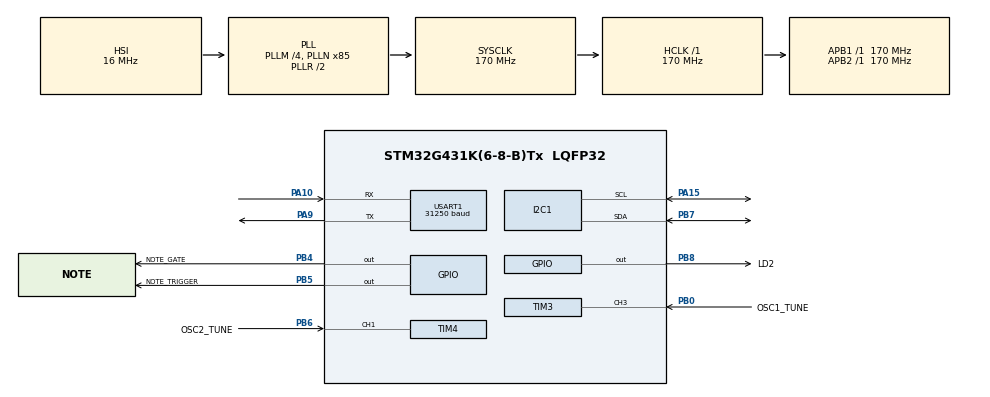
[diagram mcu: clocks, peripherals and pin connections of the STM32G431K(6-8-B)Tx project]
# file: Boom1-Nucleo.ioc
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Dma.Request0=USART1_RX
Dma.USART1_RX.0.Direction=DMA_PERIPH_TO_MEMORY
Dma.USART1_RX.0.EventEnable=DISABLE
Dma.USART1_RX.0.Instance=DMA1_Channel1
Dma.USART1_RX.0.MemDataAlignment=DMA_MDATAALIGN_BYTE
Dma.USART1_RX.0.MemInc=DMA_MINC_ENABLE
Dma.USART1_RX.0.Mode=DMA_NORMAL
Dma.USART1_RX.0.PeriphDataAlignment=DMA_PDATAALIGN_BYTE
Dma.USART1_RX.0.PeriphInc=DMA_PINC_DISABLE
Dma.USART1_RX.0.Polarity=HAL_DMAMUX_REQ_GEN_RISING
Dma.USART1_RX.0.Priority=DMA_PRIORITY_LOW
Dma.USART1_RX.0.RequestNumber=1
Dma.USART1_RX.0.SignalID=NONE
Dma.USART1_RX.0.SyncEnable=DISABLE
Dma.USART1_RX.0.SyncPolarity=HAL_DMAMUX_SYNC_NO_EVENT
Dma.USART1_RX.0.SyncRequestNumber=1
Dma.USART1_RX.0.SyncSignalID=NONE
I2C1.Timing=0x30A0A7FB
Mcu.Family=STM32G4
Mcu.Name=STM32G431K(6-8-B)Tx
Mcu.Package=LQFP32
NVIC.DMA1_Channel1_IRQn=true\:0\:0\:false\:false\:true\:false\:true
NVIC.PriorityGroup=NVIC_PRIORITYGROUP_4
NVIC.TIM3_IRQn=true\:0\:0\:false\:false\:true\:true\:true
NVIC.TIM4_IRQn=true\:0\:0\:false\:false\:true\:true\:true
NVIC.USART1_IRQn=true\:0\:0\:false\:false\:true\:true\:true
PA10.GPIO_PuPd=GPIO_PULLUP
PA10.Mode=Asynchronous
PA10.Signal=USART1_RX
PA15.Mode=I2C
PA15.Signal=I2C1_SCL
PA9.Mode=Asynchronous
PA9.Signal=USART1_TX
PB0.GPIO_Label=OSC1_TUNE
PB0.GPIO_PuPd=GPIO_NOPULL
PB0.Signal=S_TIM3_CH3
PB4.GPIO_Label=NOTE_GATE
PB4.GPIO_PuPd=GPIO_PULLDOWN
PB4.PinState=GPIO_PIN_SET
PB4.Signal=GPIO_Output
PB5.GPIO_Label=NOTE_TRIGGER
PB5.GPIO_PuPd=GPIO_PULLDOWN
PB5.PinState=GPIO_PIN_SET
PB5.Signal=GPIO_Output
PB6.GPIO_Label=OSC2_TUNE
PB6.Signal=S_TIM4_CH1
PB7.GPIO_FM7=__NULL
PB7.GPIO_Mode=GPIO_MODE_AF_OD
PB7.GPIO_PuPdOD=GPIO_PULLUP
PB7.GPIO_Speed=GPIO_SPEED_FREQ_LOW
PB7.Mode=I2C
PB7.Signal=I2C1_SDA
PB8-BOOT0.GPIO_FM8=__NULL
PB8-BOOT0.GPIO_Label=LD2
PB8-BOOT0.GPIO_ModeDefaultOutputPP=GPIO_MODE_OUTPUT_PP
PB8-BOOT0.GPIO_PuPd=GPIO_NOPULL
PB8-BOOT0.GPIO_Speed=GPIO_SPEED_FREQ_LOW
PB8-BOOT0.PinState=GPIO_PIN_RESET
PB8-BOOT0.Signal=GPIO_Output
PF0-OSC_IN.Mode=HSE-External-Oscillator
PF0-OSC_IN.Signal=RCC_OSC_IN
PF1-OSC_OUT.Mode=HSE-External-Oscillator
PF1-OSC_OUT.Signal=RCC_OSC_OUT
ProjectManager.HeapSize=0x200
ProjectManager.StackSize=0x400
ProjectManager.TargetToolchain=STM32CubeIDE
RCC.ADC12Freq_Value=170000000
RCC.AHBFreq_Value=170000000
RCC.APB1Freq_Value=170000000
RCC.APB1TimFreq_Value=170000000
RCC.APB2Freq_Value=170000000
RCC.APB2TimFreq_Value=170000000
RCC.CortexFreq_Value=170000000
RCC.EXTERNAL_CLOCK_VALUE=12288000
RCC.HCLKFreq_Value=170000000
RCC.HSE_VALUE=8000000
RCC.HSI48_VALUE=48000000
RCC.HSI_VALUE=16000000
RCC.LSE_VALUE=32768
RCC.PLLM=RCC_PLLM_DIV4
RCC.PLLN=85
RCC.SYSCLKFreq_VALUE=170000000
RCC.SYSCLKSource=RCC_SYSCLKSOURCE_PLLCLK
RCC.USBFreq_Value=170000000
RCC.VCOOutputFreq_Value=340000000
SH.S_TIM3_CH3.0=TIM3_CH3,Input_Capture3_from_TI3
SH.S_TIM4_CH1.0=TIM4_CH1,Input_Capture1_from_TI1
TIM3.Channel-Input_Capture3_from_TI3=TIM_CHANNEL_3
TIM3.Prescaler=102
TIM4.Channel-Input_Capture1_from_TI1=TIM_CHANNEL_1
TIM4.Prescaler=102
USART1.BaudRate=31250
USART1.DMADisableonRxErrorParam=ADVFEATURE_DMA_DISABLEONRXERROR
USART1.FIFOMode=FIFOMODE_ENABLE
USART1.Mode=MODE_RX
USART1.OverrunDisableParam=ADVFEATURE_OVERRUN_DISABLE
USART1.RXFIFOThreshold=RXFIFO_THRESHOLD_FULL
USART1.TXFIFOThreshold=TXFIFO_THRESHOLD_HALFFULL
USART1.VirtualMode-Asynchronous=VM_ASYNC
VP_SYS_VS_DBSignals.Mode=DisableDeadBatterySignals
board=NUCLEO-G431KB

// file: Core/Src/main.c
/* USER CODE BEGIN Header */
/**
 ******************************************************************************
 * @file           : main.c
 * @brief          : Main program body
 ******************************************************************************
 * @attention
 *
 * <h2><center>&copy; Copyright (c) 2020 STMicroelectronics.
 * All rights reserved.</center></h2>
 *
 * This software component is licensed by ST under BSD 3-Clause license,
 * the "License"; You may not use this file except in compliance with the
 * License. You may obtain a copy of the License at:
 *                        opensource.org/licenses/BSD-3-Clause
 *
 ******************************************************************************
 */
/* USER CODE END Header */
#include "main.h"

/* USER CODE BEGIN Includes */
#include "midi.h"
#include "stdbool.h"
#include "dac.h"
#include "gate.h"
#include "trigger.h"
/* USER CODE END Includes */

I2C_HandleTypeDef hi2c1;

TIM_HandleTypeDef htim3;
TIM_HandleTypeDef htim4;

UART_HandleTypeDef huart1;
DMA_HandleTypeDef hdma_usart1_rx;

void SystemClock_Config(void);
static void MX_GPIO_Init(void);
static void MX_DMA_Init(void);
static void MX_I2C1_Init(void);
static void MX_USART1_UART_Init(void);
static void MX_TIM3_Init(void);
static void MX_TIM4_Init(void);

int main(void)
{

  /* MCU Configuration--------------------------------------------------------*/

  /* Reset of all peripherals, Initializes the Flash interface and the Systick. */
  HAL_Init();

  /* Configure the system clock */
  SystemClock_Config();

  /* USER CODE BEGIN SysInit */
	midi_init();
  /* USER CODE END SysInit */

  /* Initialize all configured peripherals */
  MX_GPIO_Init();
  MX_DMA_Init();
  MX_I2C1_Init();
  MX_USART1_UART_Init();
  MX_TIM3_Init();
  MX_TIM4_Init();
  /* USER CODE BEGIN 2 */

	HAL_StatusTypeDef status = HAL_I2C_IsDeviceReady(&hi2c1, SINGLE_DAC_1_ADDRESS << 1, 64, 1000);
	if (status == HAL_OK)
	{
		HAL_GPIO_WritePin(LD2_GPIO_Port, LD2_Pin, 0);
		set_single_dac1_i2c(&hi2c1);
	}
	else
	{
		HAL_GPIO_WritePin(LD2_GPIO_Port, LD2_Pin, 1);
	}
	HAL_StatusTypeDef status2 = HAL_I2C_IsDeviceReady(&hi2c1, SINGLE_DAC_2_ADDRESS << 1, 64, 1000);
	if (status2 == HAL_OK)
	{
		HAL_GPIO_WritePin(LD2_GPIO_Port, LD2_Pin, 0);
		set_single_dac2_i2c(&hi2c1);
	}
	else
	{
		HAL_GPIO_WritePin(LD2_GPIO_Port, LD2_Pin, 1);
	}
	HAL_StatusTypeDef status3 = HAL_I2C_IsDeviceReady(&hi2c1, QUAD_DAC_1_ADDRESS << 1, 64, 1000);
	if (status3 == HAL_OK)
	{
		HAL_GPIO_WritePin(LD2_GPIO_Port, LD2_Pin, 0);
		set_quad_dac1_i2c(&hi2c1);
	}
	else
	{
		HAL_GPIO_WritePin(LD2_GPIO_Port, LD2_Pin, 1);
	}
	HAL_StatusTypeDef status4 = HAL_I2C_IsDeviceReady(&hi2c1, QUAD_DAC_2_ADDRESS << 1, 64, 1000);
	if (status4 == HAL_OK)
	{
		HAL_GPIO_WritePin(LD2_GPIO_Port, LD2_Pin, 0);
		set_quad_dac2_i2c(&hi2c1);
	}
	else
	{
		HAL_GPIO_WritePin(LD2_GPIO_Port, LD2_Pin, 1);
	}

	midi_rx_set_uart(&huart1);
//	dpot_calibrate_tracking(&hi2c1);
	set_osc1_tuning_timer(&htim3, TIM_CHANNEL_3);
	set_osc2_tuning_timer(&htim4, TIM_CHANNEL_1);
	dac_calibrate_all();
//	dac_tracking_test_mode();
  /* USER CODE END 2 */

  /* Infinite loop */
  /* USER CODE BEGIN WHILE */
	midi_rx_resume();
	while (1)
	{
		midi_state midi = midi_get_state();

		// Update the DAC control voltages based on the MIDI
		// state struct and the current time
		update_dac_control_voltages(midi);

		// Set the state of the gate based on MIDI state
		update_gate_state(midi);

		// Pulse trigger if needed
		pulse_trigger_if_needed();

    /* USER CODE END WHILE */

	}
}

void SystemClock_Config(void)
{
  RCC_OscInitTypeDef RCC_OscInitStruct = {0};
  RCC_ClkInitTypeDef RCC_ClkInitStruct = {0};
  RCC_PeriphCLKInitTypeDef PeriphClkInit = {0};

  /** Configure the main internal regulator output voltage
  */
  HAL_PWREx_ControlVoltageScaling(PWR_REGULATOR_VOLTAGE_SCALE1_BOOST);
  /** Initializes the RCC Oscillators according to the specified parameters
  * in the RCC_OscInitTypeDef structure.
  */
  RCC_OscInitStruct.OscillatorType = RCC_OSCILLATORTYPE_HSI;
  RCC_OscInitStruct.HSIState = RCC_HSI_ON;
  RCC_OscInitStruct.HSICalibrationValue = RCC_HSICALIBRATION_DEFAULT;
  RCC_OscInitStruct.PLL.PLLState = RCC_PLL_ON;
  RCC_OscInitStruct.PLL.PLLSource = RCC_PLLSOURCE_HSI;
  RCC_OscInitStruct.PLL.PLLM = RCC_PLLM_DIV4;
  RCC_OscInitStruct.PLL.PLLN = 85;
  RCC_OscInitStruct.PLL.PLLP = RCC_PLLP_DIV2;
  RCC_OscInitStruct.PLL.PLLQ = RCC_PLLQ_DIV2;
  RCC_OscInitStruct.PLL.PLLR = RCC_PLLR_DIV2;
  if (HAL_RCC_OscConfig(&RCC_OscInitStruct) != HAL_OK)
  {
    Error_Handler();
  }
  /** Initializes the CPU, AHB and APB buses clocks
  */
  RCC_ClkInitStruct.ClockType = RCC_CLOCKTYPE_HCLK|RCC_CLOCKTYPE_SYSCLK
                              |RCC_CLOCKTYPE_PCLK1|RCC_CLOCKTYPE_PCLK2;
  RCC_ClkInitStruct.SYSCLKSource = RCC_SYSCLKSOURCE_PLLCLK;
  RCC_ClkInitStruct.AHBCLKDivider = RCC_SYSCLK_DIV1;
  RCC_ClkInitStruct.APB1CLKDivider = RCC_HCLK_DIV1;
  RCC_ClkInitStruct.APB2CLKDivider = RCC_HCLK_DIV1;

  if (HAL_RCC_ClockConfig(&RCC_ClkInitStruct, FLASH_LATENCY_4) != HAL_OK)
  {
    Error_Handler();
  }
  /** Initializes the peripherals clocks
  */
  PeriphClkInit.PeriphClockSelection = RCC_PERIPHCLK_USART1|RCC_PERIPHCLK_I2C1;
  PeriphClkInit.Usart1ClockSelection = RCC_USART1CLKSOURCE_PCLK2;
  PeriphClkInit.I2c1ClockSelection = RCC_I2C1CLKSOURCE_PCLK1;
  if (HAL_RCCEx_PeriphCLKConfig(&PeriphClkInit) != HAL_OK)
  {
    Error_Handler();
  }
}

static void MX_I2C1_Init(void)
{

  hi2c1.Instance = I2C1;
  hi2c1.Init.Timing = 0x30A0A7FB;
  hi2c1.Init.OwnAddress1 = 0;
  hi2c1.Init.AddressingMode = I2C_ADDRESSINGMODE_7BIT;
  hi2c1.Init.DualAddressMode = I2C_DUALADDRESS_DISABLE;
  hi2c1.Init.OwnAddress2 = 0;
  hi2c1.Init.OwnAddress2Masks = I2C_OA2_NOMASK;
  hi2c1.Init.GeneralCallMode = I2C_GENERALCALL_DISABLE;
  hi2c1.Init.NoStretchMode = I2C_NOSTRETCH_DISABLE;
  if (HAL_I2C_Init(&hi2c1) != HAL_OK)
  {
    Error_Handler();
  }
  /** Configure Analogue filter
  */
  if (HAL_I2CEx_ConfigAnalogFilter(&hi2c1, I2C_ANALOGFILTER_ENABLE) != HAL_OK)
  {
    Error_Handler();
  }
  /** Configure Digital filter
  */
  if (HAL_I2CEx_ConfigDigitalFilter(&hi2c1, 0) != HAL_OK)
  {
    Error_Handler();
  }

}

static void MX_TIM3_Init(void)
{

  TIM_MasterConfigTypeDef sMasterConfig = {0};
  TIM_IC_InitTypeDef sConfigIC = {0};

  htim3.Instance = TIM3;
  htim3.Init.Prescaler = 102;
  htim3.Init.CounterMode = TIM_COUNTERMODE_UP;
  htim3.Init.Period = 65535;
  htim3.Init.ClockDivision = TIM_CLOCKDIVISION_DIV1;
  htim3.Init.AutoReloadPreload = TIM_AUTORELOAD_PRELOAD_DISABLE;
  if (HAL_TIM_IC_Init(&htim3) != HAL_OK)
  {
    Error_Handler();
  }
  sMasterConfig.MasterOutputTrigger = TIM_TRGO_RESET;
  sMasterConfig.MasterSlaveMode = TIM_MASTERSLAVEMODE_DISABLE;
  if (HAL_TIMEx_MasterConfigSynchronization(&htim3, &sMasterConfig) != HAL_OK)
  {
    Error_Handler();
  }
  sConfigIC.ICPolarity = TIM_INPUTCHANNELPOLARITY_RISING;
  sConfigIC.ICSelection = TIM_ICSELECTION_DIRECTTI;
  sConfigIC.ICPrescaler = TIM_ICPSC_DIV1;
  sConfigIC.ICFilter = 0;
  if (HAL_TIM_IC_ConfigChannel(&htim3, &sConfigIC, TIM_CHANNEL_3) != HAL_OK)
  {
    Error_Handler();
  }

}

static void MX_TIM4_Init(void)
{

  TIM_MasterConfigTypeDef sMasterConfig = {0};
  TIM_IC_InitTypeDef sConfigIC = {0};

  htim4.Instance = TIM4;
  htim4.Init.Prescaler = 102;
  htim4.Init.CounterMode = TIM_COUNTERMODE_UP;
  htim4.Init.Period = 65535;
  htim4.Init.ClockDivision = TIM_CLOCKDIVISION_DIV1;
  htim4.Init.AutoReloadPreload = TIM_AUTORELOAD_PRELOAD_DISABLE;
  if (HAL_TIM_IC_Init(&htim4) != HAL_OK)
  {
    Error_Handler();
  }
  sMasterConfig.MasterOutputTrigger = TIM_TRGO_RESET;
  sMasterConfig.MasterSlaveMode = TIM_MASTERSLAVEMODE_DISABLE;
  if (HAL_TIMEx_MasterConfigSynchronization(&htim4, &sMasterConfig) != HAL_OK)
  {
    Error_Handler();
  }
  sConfigIC.ICPolarity = TIM_INPUTCHANNELPOLARITY_RISING;
  sConfigIC.ICSelection = TIM_ICSELECTION_DIRECTTI;
  sConfigIC.ICPrescaler = TIM_ICPSC_DIV1;
  sConfigIC.ICFilter = 0;
  if (HAL_TIM_IC_ConfigChannel(&htim4, &sConfigIC, TIM_CHANNEL_1) != HAL_OK)
  {
    Error_Handler();
  }

}

static void MX_USART1_UART_Init(void)
{

  huart1.Instance = USART1;
  huart1.Init.BaudRate = 31250;
  huart1.Init.WordLength = UART_WORDLENGTH_8B;
  huart1.Init.StopBits = UART_STOPBITS_1;
  huart1.Init.Parity = UART_PARITY_NONE;
  huart1.Init.Mode = UART_MODE_RX;
  huart1.Init.HwFlowCtl = UART_HWCONTROL_NONE;
  huart1.Init.OverSampling = UART_OVERSAMPLING_16;
  huart1.Init.OneBitSampling = UART_ONE_BIT_SAMPLE_DISABLE;
  huart1.Init.ClockPrescaler = UART_PRESCALER_DIV1;
  huart1.AdvancedInit.AdvFeatureInit = UART_ADVFEATURE_RXOVERRUNDISABLE_INIT|UART_ADVFEATURE_DMADISABLEONERROR_INIT;
  huart1.AdvancedInit.OverrunDisable = UART_ADVFEATURE_OVERRUN_DISABLE;
  huart1.AdvancedInit.DMADisableonRxError = UART_ADVFEATURE_DMA_DISABLEONRXERROR;
  if (HAL_UART_Init(&huart1) != HAL_OK)
  {
    Error_Handler();
  }
  if (HAL_UARTEx_SetTxFifoThreshold(&huart1, UART_TXFIFO_THRESHOLD_1_2) != HAL_OK)
  {
    Error_Handler();
  }
  if (HAL_UARTEx_SetRxFifoThreshold(&huart1, UART_RXFIFO_THRESHOLD_8_8) != HAL_OK)
  {
    Error_Handler();
  }
  if (HAL_UARTEx_EnableFifoMode(&huart1) != HAL_OK)
  {
    Error_Handler();
  }

}

static void MX_DMA_Init(void)
{

  /* DMA controller clock enable */
  __HAL_RCC_DMAMUX1_CLK_ENABLE();
  __HAL_RCC_DMA1_CLK_ENABLE();

  /* DMA interrupt init */
  /* DMA1_Channel1_IRQn interrupt configuration */
  HAL_NVIC_SetPriority(DMA1_Channel1_IRQn, 0, 0);
  HAL_NVIC_EnableIRQ(DMA1_Channel1_IRQn);

}

static void MX_GPIO_Init(void)
{
  GPIO_InitTypeDef GPIO_InitStruct = {0};

  /* GPIO Ports Clock Enable */
  __HAL_RCC_GPIOF_CLK_ENABLE();
  __HAL_RCC_GPIOB_CLK_ENABLE();
  __HAL_RCC_GPIOA_CLK_ENABLE();

  /*Configure GPIO pin Output Level */
  HAL_GPIO_WritePin(GPIOB, NOTE_GATE_Pin|NOTE_TRIGGER_Pin, GPIO_PIN_SET);

  /*Configure GPIO pin Output Level */
  HAL_GPIO_WritePin(LD2_GPIO_Port, LD2_Pin, GPIO_PIN_RESET);

  /*Configure GPIO pins : NOTE_GATE_Pin NOTE_TRIGGER_Pin */
  GPIO_InitStruct.Pin = NOTE_GATE_Pin|NOTE_TRIGGER_Pin;
  GPIO_InitStruct.Mode = GPIO_MODE_OUTPUT_PP;
  GPIO_InitStruct.Pull = GPIO_PULLDOWN;
  GPIO_InitStruct.Speed = GPIO_SPEED_FREQ_LOW;
  HAL_GPIO_Init(GPIOB, &GPIO_InitStruct);

  /*Configure GPIO pin : LD2_Pin */
  GPIO_InitStruct.Pin = LD2_Pin;
  GPIO_InitStruct.Mode = GPIO_MODE_OUTPUT_PP;
  GPIO_InitStruct.Pull = GPIO_NOPULL;
  GPIO_InitStruct.Speed = GPIO_SPEED_FREQ_LOW;
  HAL_GPIO_Init(LD2_GPIO_Port, &GPIO_InitStruct);

}

/* USER CODE BEGIN 4 */
void HAL_UART_RxCpltCallback(UART_HandleTypeDef *huart) {
	midi_rx_dma_rxcomplete_callback();
}
/* USER CODE END 4 */

void Error_Handler(void)
{
}

/************************ (C) COPYRIGHT STMicroelectronics *****END OF FILE****/
